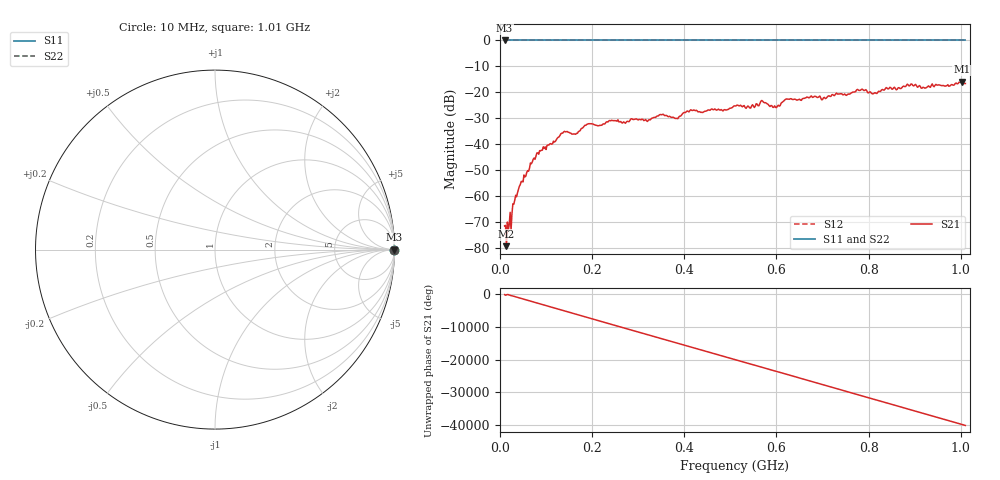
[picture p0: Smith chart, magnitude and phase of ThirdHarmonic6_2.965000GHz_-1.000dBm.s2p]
! 8/17/2025 8:22:46 AM
! C:\ANRITSUVNA\TEMP\TEMP.S2P
! CHANNEL.1
! TR.MEASUREMENT
! RAW.DATA
! RF.CORRECTION.OFF
! AVERAGING.OFF
! IF.BANDWIDTH: 5KHZ
! SWEEPTYPE:  FREQ.SWEEP(Linear)
! Reference Plane Port Info
! PORT:  PORT1  PORT2
! DISTANCE:  0  m  0  m
! TIME:  0  s  0  s
! PHASE.OFFSET:  0  deg.  0  deg.
! LOSS:  0  dB  0  dB
! REF.LOSS:  0  dB  0  dB
! REF.FREQ:  0  Hz  0  Hz
! Power Info
! POWER:  -20  dBm  -20  dBm
! EFF.POWER:  -20  dBm  -20  dBm
! SOURCE.ATTEN:  0  dB  0  dB
! TEST.ATTEN:  0  dB  0  dB
# GHZ S RI R 50.0
! FREQ.GHZ  S11RE  S11IM  S21RE  S21IM  S12RE  S12IM  S22RE  S22IM
!; PortSelection: Port_12
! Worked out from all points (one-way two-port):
!   501 points, 10 MHz to 1.01 GHz, reference 50 ohm
!   highest |S21| = -15.89 dB at 1.002 GHz (marker M1); lowest = -79.1 dB at 14 MHz (marker M2)
!   lowest |S11| = 0.0 dB at 10 MHz (marker M3)
!   |S11| at or under -10 dB: nowhere
!   |S22| runs from 0.0 to 0.0 dB; largest |S21 - S12| = 1.1
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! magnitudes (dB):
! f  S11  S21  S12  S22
! 10 MHz  0.0  -71.3  0.0  0.0
! 14 MHz  0.0  -79.1  0.0  0.0
! 22 MHz  0.0  -66.1  0.0  0.0
! 30 MHz  0.0  -63.0  0.0  0.0
! 44 MHz  0.0  -55.5  0.0  0.0
! 82 MHz  0.0  -43.2  0.0  0.0
! 136 MHz  0.0  -35.7  0.0  0.0
! 164 MHz  0.0  -36.1  0.0  0.0
! 178 MHz  0.0  -33.8  0.0  0.0
! 344 MHz  0.0  -29.0  0.0  0.0
! 382 MHz  0.0  -30.0  0.0  0.0
! 416 MHz  0.0  -26.9  0.0  0.0
! 510 MHz  0.0  -25.2  0.0  0.0
! 570 MHz  0.0  -23.3  0.0  0.0
! 596 MHz  0.0  -25.1  0.0  0.0
! 622 MHz  0.0  -22.5  0.0  0.0
! 678 MHz  0.0  -21.9  0.0  0.0
! 784 MHz  0.0  -18.9  0.0  0.0
! 814 MHz  0.0  -20.1  0.0  0.0
! 844 MHz  0.0  -18.5  0.0  0.0
! 1.002 GHz  0.0  -15.9  0.0  0.0
! 1.01 GHz  0.0  -16.6  0.0  0.0
